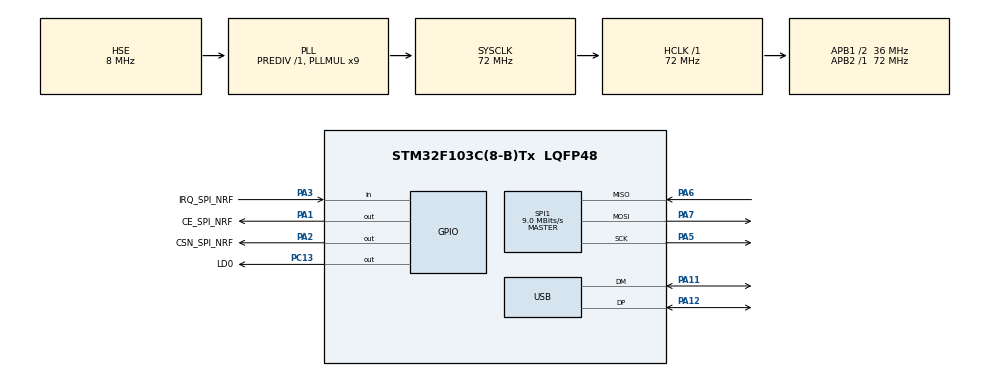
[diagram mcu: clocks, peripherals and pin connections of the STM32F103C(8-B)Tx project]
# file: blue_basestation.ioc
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Mcu.Family=STM32F1
Mcu.Name=STM32F103C(8-B)Tx
Mcu.Package=LQFP48
NVIC.PriorityGroup=NVIC_PRIORITYGROUP_4
NVIC.USB_LP_CAN1_RX0_IRQn=true\:0\:0\:false\:false\:true\:false
PA1.GPIO_Label=CE_SPI_NRF
PA1.Signal=GPIO_Output
PA11.Mode=Device
PA11.Signal=USB_DM
PA12.Mode=Device
PA12.Signal=USB_DP
PA13.Mode=Serial_Wire
PA13.Signal=SYS_JTMS-SWDIO
PA14.Mode=Serial_Wire
PA14.Signal=SYS_JTCK-SWCLK
PA2.GPIO_Label=CSN_SPI_NRF
PA2.Signal=GPIO_Output
PA3.GPIO_Label=IRQ_SPI_NRF
PA3.Signal=GPIO_Input
PA5.Mode=Full_Duplex_Master
PA5.Signal=SPI1_SCK
PA6.Mode=Full_Duplex_Master
PA6.Signal=SPI1_MISO
PA7.Mode=Full_Duplex_Master
PA7.Signal=SPI1_MOSI
PC13-TAMPER-RTC.GPIO_Label=LD0
PC13-TAMPER-RTC.PinState=GPIO_PIN_SET
PC13-TAMPER-RTC.Signal=GPIO_Output
PD0-OSC_IN.Mode=HSE-External-Oscillator
PD0-OSC_IN.Signal=RCC_OSC_IN
PD1-OSC_OUT.Mode=HSE-External-Oscillator
PD1-OSC_OUT.Signal=RCC_OSC_OUT
ProjectManager.HeapSize=0x200
ProjectManager.StackSize=0x400
ProjectManager.TargetToolchain=SW4STM32
RCC.AHBFreq_Value=72000000
RCC.APB1CLKDivider=RCC_HCLK_DIV2
RCC.APB1Freq_Value=36000000
RCC.APB1TimFreq_Value=72000000
RCC.APB2Freq_Value=72000000
RCC.APB2TimFreq_Value=72000000
RCC.HCLKFreq_Value=72000000
RCC.PLLMUL=RCC_PLL_MUL9
RCC.SYSCLKFreq_VALUE=72000000
RCC.SYSCLKSource=RCC_SYSCLKSOURCE_PLLCLK
RCC.USBFreq_Value=48000000
RCC.USBPrescaler=RCC_USBCLKSOURCE_PLL_DIV1_5
SPI1.BaudRatePrescaler=SPI_BAUDRATEPRESCALER_8
SPI1.CalculateBaudRate=9.0 MBits/s
SPI1.Direction=SPI_DIRECTION_2LINES
SPI1.Mode=SPI_MODE_MASTER
SPI1.VirtualType=VM_MASTER
USB_DEVICE.CLASS_NAME_FS=CDC
USB_DEVICE.VirtualMode=Cdc
USB_DEVICE.VirtualModeFS=Cdc_FS
VP_USB_DEVICE_VS_USB_DEVICE_CDC_FS.Mode=CDC_FS
board=blue_basestation

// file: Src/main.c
/**
  ******************************************************************************
  * @file           : main.c
  * @brief          : Main program body
  ******************************************************************************
  * This notice applies to any and all portions of this file
  * that are not between comment pairs USER CODE BEGIN and
  * USER CODE END. Other portions of this file, whether
  * inserted by the user or by software development tools
  * are owned by their respective copyright owners.
  *
  * Copyright (c) 2018 STMicroelectronics International N.V.
  * All rights reserved.
  *
  * Redistribution and use in source and binary forms, with or without
  * modification, are permitted, provided that the following conditions are met:
  *
  * 1. Redistribution of source code must retain the above copyright notice,
  *    this list of conditions and the following disclaimer.
  * 2. Redistributions in binary form must reproduce the above copyright notice,
  *    this list of conditions and the following disclaimer in the documentation
  *    and/or other materials provided with the distribution.
  * 3. Neither the name of STMicroelectronics nor the names of other
  *    contributors to this software may be used to endorse or promote products
  *    derived from this software without specific written permission.
  * 4. This software, including modifications and/or derivative works of this
  *    software, must execute solely and exclusively on microcontroller or
  *    microprocessor devices manufactured by or for STMicroelectronics.
  * 5. Redistribution and use of this software other than as permitted under
  *    this license is void and will automatically terminate your rights under
  *    this license.
  *
  * THIS SOFTWARE IS PROVIDED BY STMICROELECTRONICS AND CONTRIBUTORS "AS IS"
  * AND ANY EXPRESS, IMPLIED OR STATUTORY WARRANTIES, INCLUDING, BUT NOT
  * LIMITED TO, THE IMPLIED WARRANTIES OF MERCHANTABILITY, FITNESS FOR A
  * PARTICULAR PURPOSE AND NON-INFRINGEMENT OF THIRD PARTY INTELLECTUAL PROPERTY
  * RIGHTS ARE DISCLAIMED TO THE FULLEST EXTENT PERMITTED BY LAW. IN NO EVENT
  * SHALL STMICROELECTRONICS OR CONTRIBUTORS BE LIABLE FOR ANY DIRECT, INDIRECT,
  * INCIDENTAL, SPECIAL, EXEMPLARY, OR CONSEQUENTIAL DAMAGES (INCLUDING, BUT NOT
  * LIMITED TO, PROCUREMENT OF SUBSTITUTE GOODS OR SERVICES; LOSS OF USE, DATA,
  * OR PROFITS; OR BUSINESS INTERRUPTION) HOWEVER CAUSED AND ON ANY THEORY OF
  * LIABILITY, WHETHER IN CONTRACT, STRICT LIABILITY, OR TORT (INCLUDING
  * NEGLIGENCE OR OTHERWISE) ARISING IN ANY WAY OUT OF THE USE OF THIS SOFTWARE,
  * EVEN IF ADVISED OF THE POSSIBILITY OF SUCH DAMAGE.
  *
  ******************************************************************************
  */
#include "main.h"
#include "stm32f1xx_hal.h"
#include "spi.h"
#include "usb_device.h"
#include "gpio.h"

/* USER CODE BEGIN Includes */
#include "myNRF24.h"
#include "basestationNRF24.h"
#include "TextOut.h"
#include "packing.h"

#include "packing.h"
#include "test_packing.h"
#include "test_packetSending.h"
/* USER CODE END Includes */

/* USER CODE BEGIN PV */
/* Private variables ---------------------------------------------------------*/

/* USER CODE END PV */

void SystemClock_Config(void);

/* USER CODE BEGIN PFP */
/* Private function prototypes -----------------------------------------------*/

/* USER CODE END PFP */

/* USER CODE BEGIN 0 */
void tacticsCommTestLoop() {
	roboData debugRoboData;
	uint8_t debugRoboPacket[ROBOPKTLEN];

	packetToRoboData(usbData, &debugRoboData);
/*	debugRoboData.id = 10; //robot 10
	debugRoboData.rho = 1;
	debugRoboData.theta = 2;
	debugRoboData.driving_reference = 0;
	debugRoboData.use_cam_info = 0;
	debugRoboData.velocity_angular = 4;
	debugRoboData.debug_info = !debugRoboData.debug_info;
	debugRoboData.do_kick = 1;
	debugRoboData.do_chip = 0;
	debugRoboData.kick_chip_forced = 1;
	debugRoboData.kick_chip_power = 0;
	debugRoboData.velocity_dribbler = 15;
	debugRoboData.geneva_drive_state = 3;
	debugRoboData.cam_position_x = 1;
	debugRoboData.cam_position_y = 2;
	debugRoboData.cam_rotation = 3;*/
	sprintf(smallStrBuffer,"id: %i\n",debugRoboData.id);
	robotDataToPacket(&debugRoboData, debugRoboPacket);
	sendPacket(debugRoboPacket);

	//we need to know to which Robot the PC wanted to send.
	//we could convert the whole array to a RobotData struct,
	//but for performance reasons we just use bitshifting, implying our packet format.
	uint8_t robotToSendTo = usbData[0] >> 3;
	getAndProcessAck(robotToSendTo);
	//HAL_Delay(10);

}

void dummyTestLoop() {
	roboData debugRoboData;
	uint8_t debugRoboPacket[ROBOPKTLEN];

	debugRoboData.id = 10; //robot 10
	debugRoboData.rho = 1;
	debugRoboData.theta = 2;
	debugRoboData.driving_reference = 0;
	debugRoboData.use_cam_info = 0;
	debugRoboData.velocity_angular = 4;
	debugRoboData.debug_info = !debugRoboData.debug_info;
	debugRoboData.do_kick = 1;
	debugRoboData.do_chip = 0;
	debugRoboData.kick_chip_forced = 1;
	debugRoboData.kick_chip_power = 0;
	debugRoboData.velocity_dribbler = 15;
	debugRoboData.geneva_drive_state = 3;
	debugRoboData.cam_position_x = 1;
	debugRoboData.cam_position_y = 2;
	debugRoboData.cam_rotation = 3;
	sprintf(smallStrBuffer,"id: %i\n",debugRoboData.id);
	robotDataToPacket(&debugRoboData, debugRoboPacket);
	sendPacket(debugRoboPacket);

	//we need to know to which Robot the PC wanted to send.
	//we could convert the whole array to a RobotData struct,
	//but for performance reasons we just use bitshifting, implying our packet format.
	uint8_t robotToSendTo = 10;
	getAndProcessAck(robotToSendTo);
	HAL_Delay(50);

}
/* USER CODE END 0 */

int main(void)
{

  /* MCU Configuration----------------------------------------------------------*/

  /* Reset of all peripherals, Initializes the Flash interface and the Systick. */
  HAL_Init();

  /* Configure the system clock */
  SystemClock_Config();

  /* Initialize all configured peripherals */
  MX_GPIO_Init();
  MX_USB_DEVICE_Init();
  MX_SPI1_Init();
  /* USER CODE BEGIN 2 */
	initBase(&hspi1, 78);
  /* USER CODE END 2 */

  /* Infinite loop */
  /* USER CODE BEGIN WHILE */
	HAL_Delay(1000);
  while (1)
  {

		if(HAL_GetTick()% 1000 < 500){
			HAL_GPIO_WritePin(LD0_GPIO_Port,LD0_Pin, 1);
		}else {
			HAL_GPIO_WritePin(LD0_GPIO_Port,LD0_Pin, 0);
		}
		//dummyTestLoop();
		if(usbLength/* == ROBOPKTLEN*/){
			tacticsCommTestLoop();
			usbLength = 0;
		}
  /* USER CODE END WHILE */

  }

}

void SystemClock_Config(void)
{

  RCC_OscInitTypeDef RCC_OscInitStruct;
  RCC_ClkInitTypeDef RCC_ClkInitStruct;
  RCC_PeriphCLKInitTypeDef PeriphClkInit;

    /**Initializes the CPU, AHB and APB busses clocks
    */
  RCC_OscInitStruct.OscillatorType = RCC_OSCILLATORTYPE_HSE;
  RCC_OscInitStruct.HSEState = RCC_HSE_ON;
  RCC_OscInitStruct.HSEPredivValue = RCC_HSE_PREDIV_DIV1;
  RCC_OscInitStruct.HSIState = RCC_HSI_ON;
  RCC_OscInitStruct.PLL.PLLState = RCC_PLL_ON;
  RCC_OscInitStruct.PLL.PLLSource = RCC_PLLSOURCE_HSE;
  RCC_OscInitStruct.PLL.PLLMUL = RCC_PLL_MUL9;
  if (HAL_RCC_OscConfig(&RCC_OscInitStruct) != HAL_OK)
  {
    _Error_Handler(__FILE__, __LINE__);
  }

    /**Initializes the CPU, AHB and APB busses clocks
    */
  RCC_ClkInitStruct.ClockType = RCC_CLOCKTYPE_HCLK|RCC_CLOCKTYPE_SYSCLK
                              |RCC_CLOCKTYPE_PCLK1|RCC_CLOCKTYPE_PCLK2;
  RCC_ClkInitStruct.SYSCLKSource = RCC_SYSCLKSOURCE_PLLCLK;
  RCC_ClkInitStruct.AHBCLKDivider = RCC_SYSCLK_DIV1;
  RCC_ClkInitStruct.APB1CLKDivider = RCC_HCLK_DIV2;
  RCC_ClkInitStruct.APB2CLKDivider = RCC_HCLK_DIV1;

  if (HAL_RCC_ClockConfig(&RCC_ClkInitStruct, FLASH_LATENCY_2) != HAL_OK)
  {
    _Error_Handler(__FILE__, __LINE__);
  }

  PeriphClkInit.PeriphClockSelection = RCC_PERIPHCLK_USB;
  PeriphClkInit.UsbClockSelection = RCC_USBCLKSOURCE_PLL_DIV1_5;
  if (HAL_RCCEx_PeriphCLKConfig(&PeriphClkInit) != HAL_OK)
  {
    _Error_Handler(__FILE__, __LINE__);
  }

    /**Configure the Systick interrupt time
    */
  HAL_SYSTICK_Config(HAL_RCC_GetHCLKFreq()/1000);

    /**Configure the Systick
    */
  HAL_SYSTICK_CLKSourceConfig(SYSTICK_CLKSOURCE_HCLK);

  /* SysTick_IRQn interrupt configuration */
  HAL_NVIC_SetPriority(SysTick_IRQn, 0, 0);
}

void _Error_Handler(char *file, int line)
{
  while(1)
  {
  }
}

/************************ (C) COPYRIGHT STMicroelectronics *****END OF FILE****/
